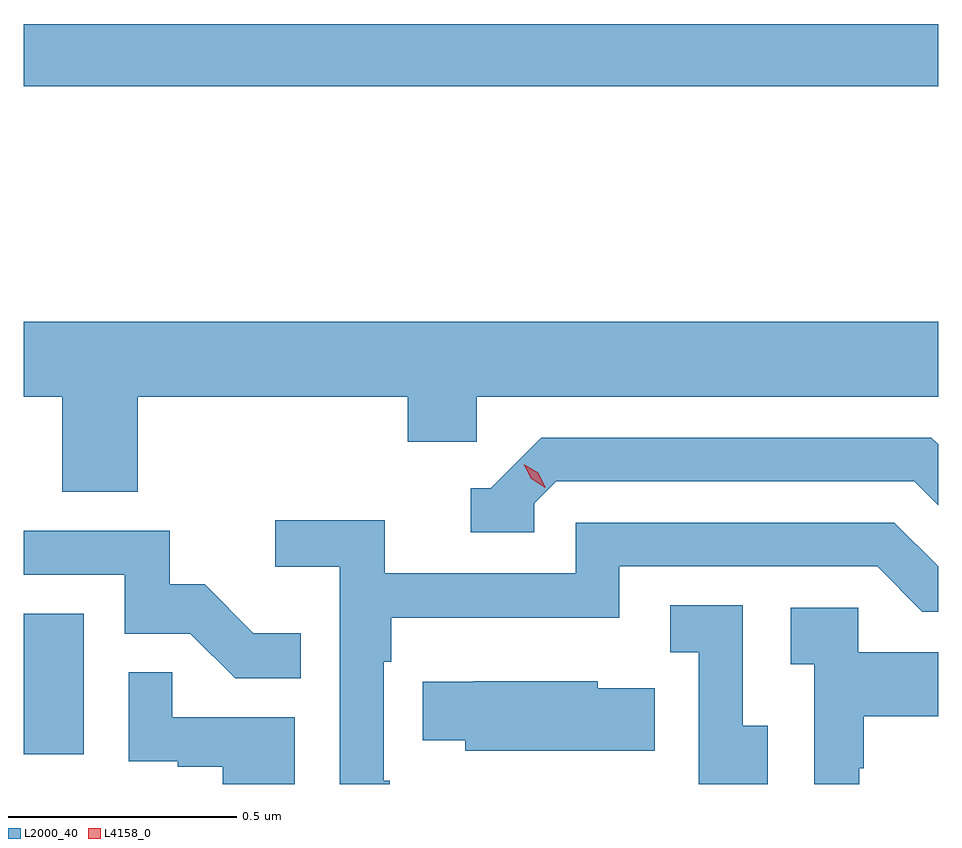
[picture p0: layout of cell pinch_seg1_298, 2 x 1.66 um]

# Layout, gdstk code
import gdstk
lib = gdstk.Library(unit=1e-6, precision=1e-09)
def R(c, l, rs):  # rectangles x0, y0, x1, y1
    for r in rs: c.add(gdstk.rectangle(r[:2], r[2:], *l))
def P(c, l, *ps):  # polygons
    for p in ps: c.add(gdstk.Polygon(p, *l))
L2000_40 = (2000, 40)
L4158_0 = (4158, 0)

pinch_seg1_298 = lib.new_cell('pinch_seg1_298')
R(pinch_seg1_298, L2000_40, [(928.367,548.286,928.498,548.593), (928.367,549.748,930.367,549.884)])
P(pinch_seg1_298, L2000_40, [(928.616,549.068),(929.207,549.068),(929.207,548.97),(929.358,548.97),(929.358,549.068),(930.367,549.068),(930.367,549.232),(928.367,549.232),(928.367,549.068),(928.451,549.068),(928.451,548.86),(928.616,548.86)],
  [(929.484,548.835),(929.532,548.883),(930.315,548.883),(930.367,548.831),(930.367,548.964),(930.352,548.979),(929.499,548.979),(929.388,548.868),(929.345,548.868),(929.345,548.772),(929.484,548.772)],
  [(929.167,548.228),(929.154,548.228),(929.154,548.489),(929.171,548.489),(929.171,548.585),(929.67,548.585),(929.67,548.697),(930.234,548.697),(930.333,548.598),(930.367,548.598),(930.367,548.697),(930.271,548.793),(929.574,548.793),(929.574,548.682),(929.156,548.682),(929.156,548.798),(928.917,548.798),(928.917,548.696),(929.058,548.696),(929.058,548.221),(929.167,548.221)],
  [(928.973,548.551),(928.869,548.551),(928.762,548.658),(928.686,548.658),(928.686,548.775),(928.367,548.775),(928.367,548.679),(928.587,548.679),(928.587,548.55),(928.731,548.55),(928.829,548.452),(928.973,548.452)],
  [(929.995,548.349),(929.94,548.349),(929.94,548.612),(929.781,548.612),(929.781,548.509),(929.844,548.509),(929.844,548.221),(929.995,548.221)],
  [(930.195,548.255),(930.205,548.255),(930.205,548.369),(930.367,548.369),(930.367,548.509),(930.192,548.509),(930.192,548.607),(930.045,548.607),(930.045,548.483),(930.096,548.483),(930.096,548.221),(930.195,548.221)],
  [(928.96,548.367),(928.691,548.367),(928.691,548.465),(928.596,548.465),(928.596,548.271),(928.703,548.271),(928.703,548.259),(928.802,548.259),(928.802,548.221),(928.96,548.221)],
  [(929.747,548.431),(929.622,548.431),(929.622,548.446),(929.35,548.446),(929.35,548.445),(929.239,548.445),(929.239,548.317),(929.333,548.317),(929.333,548.294),(929.747,548.294)])
P(pinch_seg1_298, L4158_0, [(929.508,548.869),(929.477,548.889),(929.461,548.921),(929.461,548.921),(929.461,548.921),(929.492,548.902),(929.508,548.87),(929.508,548.869)])

lib.write_gds('pinch_seg1_298.gds')
